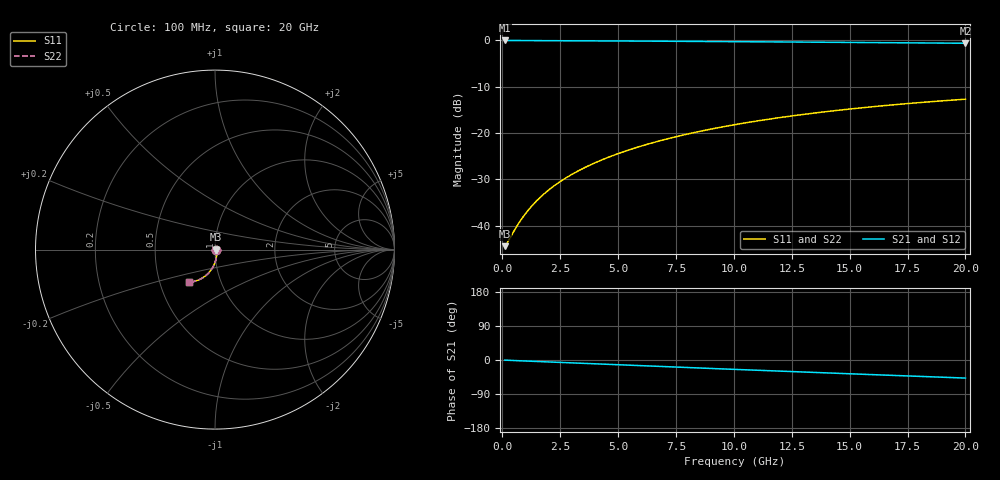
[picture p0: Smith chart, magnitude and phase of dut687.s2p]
! Touchstone file exported from HFSS 2026.1.0
!  File:  C:/ffzhzh/LocalFiles/Ansys_Project_Files/temp_train_TMRDL_687_1783010229_55676.aedt
!  Generated:  12:38:55 AM Jul  3, 2026
!  Design:  TMRDL
!  Project:  temp_train_TMRDL_687_1783010229_55676
! Variables:
!  h_bsmrdl = 2um
!  h_ox = 20um
!  h_rdl = 5um
!  h_sub = 80um
!  h_tmrdl = 4.18um
!  h_tsv = 80um
!  h_via = 3um
!  l_bsmrdl = 300um
!  l_sub = 1218.4um
!  l_tmrdl = 818.4um
!  m_sub = 200um
!  pitch = 13.43um
!  r_tsv = 6um
!  s_tmrdl = 10um
!  w_bsmrdl = 18um
!  w_sub = 500um
!  w_tmrdl = 11.81um
!  x_tsv_center1 = 824.305um
!  x_tsv_center2 = 1142.305um
!  x_tsv_center3 = 1972.515um
!  x_tsv_center4 = 2290.515um
!  x_tsv_center5 = 3120.725um
!  x_tsv_center6 = 3438.725um
# GHz S MA R 50.000000
! Terminal data exported
! Port[1] = TM_RDL1_1_T1
! Port[2] = TM_RDL1_1_T2
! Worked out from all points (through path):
!   200 points, 100 MHz to 20 GHz, reference 50 ohm
!   highest |S21| = -0.05 dB at 100 MHz (marker M1); lowest = -0.7 dB at 20 GHz (marker M2)
!   group delay of S21, straight-line fit = 6.6 ps
!   lowest |S11| = -44.4 dB at 100 MHz (marker M3), VSWR 1.01, Z = 50.6 - j0.0293 ohm
!   |S11| at or under -10 dB: start of sweep to end of sweep
!   |S22| runs from -44.4 to -12.7 dB; largest |S21 - S12| = 3.6e-15
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0.1  0.006001 -2.8  0.994 -0.3  0.994 -0.3  0.006001 -2.8
! Gamma 0 0 0 0
! Port Impedance 50 0 50 0
0.2  0.006449 -6.5  0.9936 -0.6  0.9936 -0.6  0.006449 -6.5
0.6  0.00959 -28.0  0.9914 -1.7  0.9914 -1.7  0.009591 -28.0
0.9  0.01245 -41.6  0.9903 -2.4  0.9903 -2.4  0.01245 -41.6
1.2  0.0155 -51.4  0.9896 -3.2  0.9896 -3.2  0.0155 -51.4
1.5  0.01868 -58.5  0.989 -3.9  0.989 -3.9  0.01869 -58.5
1.9  0.02307 -65.2  0.9883 -4.9  0.9883 -4.9  0.02308 -65.2
2.4  0.02871 -71.1  0.9874 -6.2  0.9874 -6.2  0.02872 -71.1
2.9  0.03449 -75.4  0.9865 -7.4  0.9865 -7.4  0.03449 -75.4
3.5  0.04156 -79.3  0.9852 -8.9  0.9852 -8.9  0.04157 -79.3
4.2  0.04996 -82.9  0.9835 -10.7  0.9835 -10.7  0.04997 -82.9
5  0.05974 -86.4  0.9814 -12.6  0.9814 -12.6  0.05976 -86.3
5.9  0.07091 -89.7  0.9788 -14.8  0.9788 -14.8  0.07093 -89.7
6.8  0.08218 -92.7  0.976 -17.0  0.976 -17.0  0.0822 -92.7
7.6  0.09225 -95.3  0.9734 -19.0  0.9734 -19.0  0.09227 -95.2
8.4  0.1023 -97.7  0.9708 -20.9  0.9708 -20.9  0.1023 -97.6
10.1  0.1235 -102.6  0.9649 -24.9  0.9649 -24.9  0.1235 -102.6
11.7  0.1429 -107.1  0.9592 -28.7  0.9592 -28.7  0.143 -107.0
13.4  0.1629 -111.6  0.9529 -32.7  0.9529 -32.7  0.163 -111.5
15  0.1809 -115.8  0.9469 -36.4  0.9469 -36.4  0.181 -115.7
16.7  0.1991 -120.1  0.9403 -40.3  0.9403 -40.3  0.1991 -120.0
20  0.2311 -128.1  0.9274 -47.7  0.9274 -47.7  0.2311 -128.0
